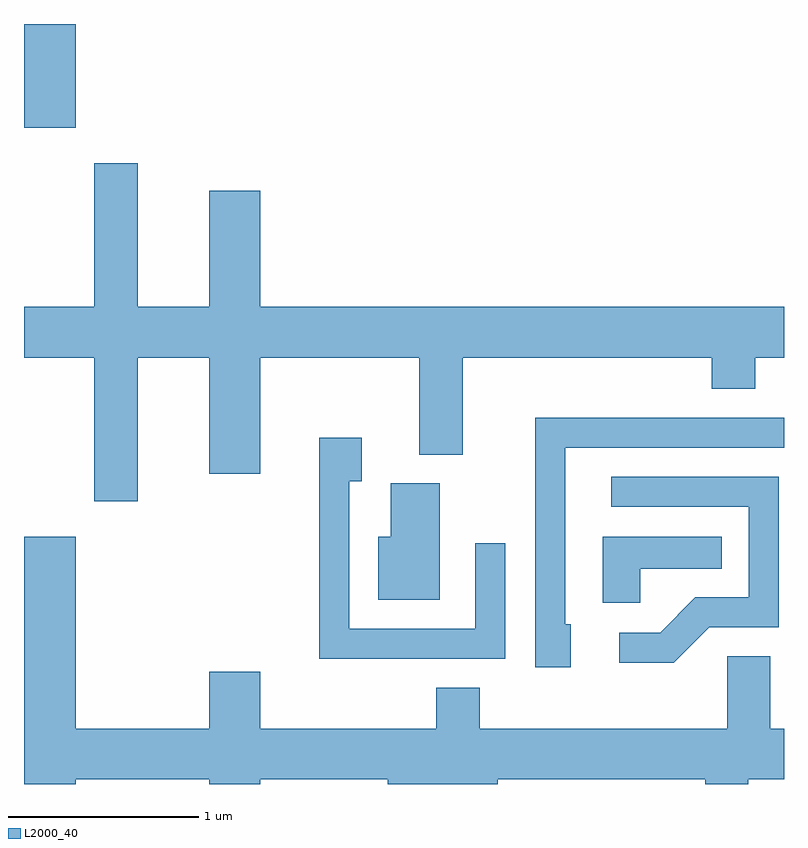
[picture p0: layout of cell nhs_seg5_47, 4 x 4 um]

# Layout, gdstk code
import gdstk
lib = gdstk.Library(unit=1e-6, precision=1e-09)
def R(c, l, rs):  # rectangles x0, y0, x1, y1
    for r in rs: c.add(gdstk.rectangle(r[:2], r[2:], *l))
def P(c, l, *ps):  # polygons
    for p in ps: c.add(gdstk.Polygon(p, *l))
L2000_40 = (2000, 40)

nhs_seg5_47 = lib.new_cell('nhs_seg5_47')
R(nhs_seg5_47, L2000_40, [(185.611,1493.526,185.884,1494.072)])
P(nhs_seg5_47, L2000_40, [(186.209,1492.316),(186.586,1492.316),(186.586,1491.706),(186.854,1491.706),(186.854,1492.316),(187.691,1492.316),(187.691,1491.806),(187.919,1491.806),(187.919,1492.316),(189.231,1492.316),(189.231,1492.151),(189.459,1492.151),(189.459,1492.316),(189.611,1492.316),(189.611,1492.584),(186.854,1492.584),(186.854,1493.194),(186.586,1493.194),(186.586,1492.584),(186.209,1492.584),(186.209,1493.339),(185.981,1493.339),(185.981,1492.584),(185.611,1492.584),(185.611,1492.316),(185.981,1492.316),(185.981,1491.561),(186.209,1491.561)],
  [(188.489,1490.914),(188.459,1490.914),(188.459,1491.841),(189.611,1491.841),(189.611,1491.999),(188.301,1491.999),(188.301,1490.686),(188.489,1490.686)],
  [(188.144,1491.338),(187.986,1491.338),(187.986,1490.889),(187.324,1490.889),(187.324,1491.666),(187.389,1491.666),(187.389,1491.894),(187.166,1491.894),(187.166,1490.731),(188.144,1490.731)],
  [(189.217,1490.896),(189.584,1490.896),(189.584,1491.689),(188.703,1491.689),(188.703,1491.531),(189.426,1491.531),(189.426,1491.054),(189.144,1491.054),(188.959,1490.869),(188.743,1490.869),(188.743,1490.711),(189.032,1490.711)],
  [(187.799,1491.654),(187.541,1491.654),(187.541,1491.374),(187.476,1491.374),(187.476,1491.041),(187.799,1491.041)],
  [(185.884,1490.096),(186.586,1490.096),(186.586,1490.072),(186.854,1490.072),(186.854,1490.096),(187.526,1490.096),(187.526,1490.072),(188.104,1490.072),(188.104,1490.096),(189.196,1490.096),(189.196,1490.072),(189.424,1490.072),(189.424,1490.096),(189.611,1490.096),(189.611,1490.364),(189.539,1490.364),(189.539,1490.744),(189.311,1490.744),(189.311,1490.364),(188.009,1490.364),(188.009,1490.579),(187.781,1490.579),(187.781,1490.364),(186.854,1490.364),(186.854,1490.664),(186.586,1490.664),(186.586,1490.364),(185.884,1490.364),(185.884,1491.374),(185.611,1491.374),(185.611,1490.072),(185.884,1490.072)],
  [(188.854,1491.206),(189.283,1491.206),(189.283,1491.374),(188.656,1491.374),(188.656,1491.026),(188.854,1491.026)])

lib.write_gds('nhs_seg5_47.gds')
